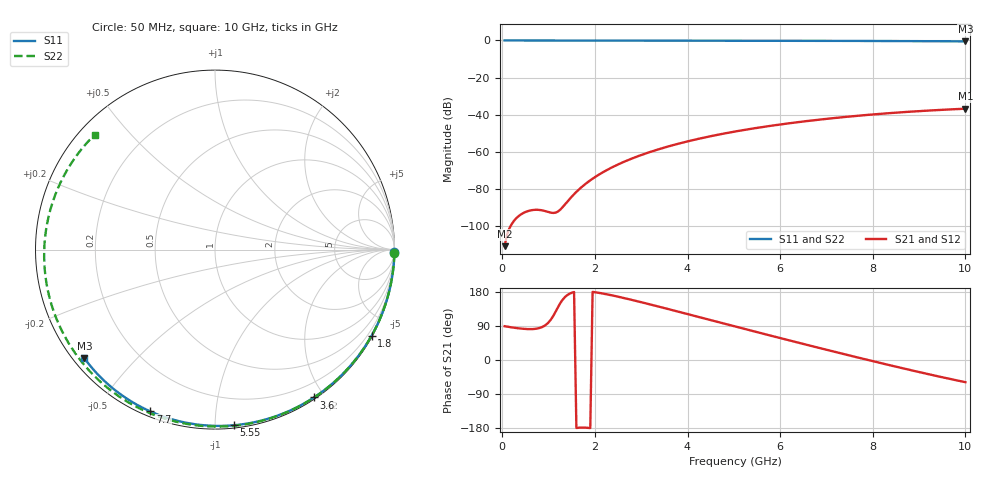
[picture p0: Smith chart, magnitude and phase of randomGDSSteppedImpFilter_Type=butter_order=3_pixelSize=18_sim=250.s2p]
! freq	dB(S11)	phase(S11)	dB(S12)	phase(S12)
!  dB(S21)	phase(S21)	dB(S22)	phase(S22)
!S-par simulation data
#  GHz  S  DB  R 50
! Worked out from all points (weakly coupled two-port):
!   200 points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, 50 MHz to 10 GHz, reference 50 ohm
!   highest |S21| = -36.82 dB at 10 GHz (marker M1); lowest = -111.0 dB at 50 MHz (marker M2)
!   lowest |S11| = -0.5 dB at 10 GHz (marker M3), VSWR 36.47, Z = 1.55 - j18.1 ohm
!   |S11| at or under -10 dB: nowhere
!   |S22| runs from -0.7 to 0.0 dB; largest |S21 - S12| = 0
!   S11 on the Smith chart (normalised r, x): 50 MHz: open; 1.8 GHz: 0.03, -3.90; 3.6 GHz: 0.02, -1.87; 5.55 GHz: 0.02, -1.11; 7.7 GHz: 0.02, -0.68; 10 GHz: 0.03, -0.36
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0.05  -0.00 -0.8  -111.01 89.2  -111.01 89.2  -0.00 -1.2
0.8  -0.02 -12.9  -91.46 84.3  -91.46 84.3  -0.02 -19.4
1.65  -0.03 -26.4  -80.52 -178.7  -80.52 -178.7  -0.05 -39.5
1.75  -0.04 -28.0  -78.34 -178.4  -78.34 -178.4  -0.05 -41.8
1.8  -0.04 -28.8  -77.33 -178.6  -77.33 -178.6  -0.05 -43.0
2.1  -0.04 -33.5  -72.19 176.9  -72.19 176.9  -0.06 -49.9
2.5  -0.05 -39.6  -66.91 167.1  -66.91 167.1  -0.08 -59.0
2.9  -0.06 -45.7  -62.74 155.5  -62.74 155.5  -0.09 -67.9
3.4  -0.07 -53.2  -58.53 140.2  -58.53 140.2  -0.10 -78.8
3.6  -0.08 -56.2  -57.08 133.9  -57.08 133.9  -0.11 -83.1
4.3  -0.09 -66.3  -52.73 111.7  -52.73 111.7  -0.14 -97.9
5.05  -0.12 -76.9  -49.04 87.8  -49.04 87.8  -0.17 -113.3
5.55  -0.14 -83.8  -46.98 72.0  -46.98 72.0  -0.20 -123.5
6.15  -0.16 -91.8  -44.84 53.2  -44.84 53.2  -0.24 -135.6
6.7  -0.19 -99.0  -43.14 36.2  -43.14 36.2  -0.28 -146.8
7.2  -0.22 -105.5  -41.78 21.0  -41.78 21.0  -0.32 -157.1
7.7  -0.26 -111.8  -40.58 5.9  -40.58 5.9  -0.37 -167.7
8.35  -0.31 -119.9  -39.24 -13.3  -39.24 -13.3  -0.44 178.0
8.8  -0.35 -125.5  -38.45 -26.2  -38.45 -26.2  -0.50 167.5
9.2  -0.39 -130.4  -37.84 -37.4  -37.84 -37.4  -0.55 157.7
9.6  -0.43 -135.3  -37.30 -48.2  -37.30 -48.2  -0.60 147.3
10  -0.48 -140.2  -36.82 -58.5  -36.82 -58.5  -0.66 136.4
